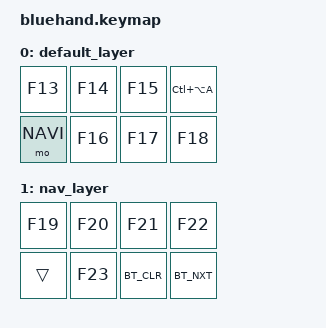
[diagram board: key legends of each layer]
/*
 * Copyright (c) 2021 DonPavlov
 *
 * SPDX-License-Identifier: MIT
 */

#include <behaviors.dtsi>
#include <dt-bindings/zmk/keys.h>
#include <dt-bindings/zmk/bt.h>

/ {
    keymap {
        compatible = "zmk,keymap";

        default_layer {
// -------------------
// |  F13  |  F14  |  F15  |  LC(LA(A))  |
// |  MO(1)  |  F16  |  F17  |  F18  |
// ----------------------
            bindings = <
    &kp F13   &kp F14  &kp F15  &kp LC(LA(A))
    &mo NAVI  &kp F16  &kp F17  &kp F18
            >;
        };

        nav_layer {
// -----------------------
// | F19 |  F20  |  F21  |  F22 |
// | _     |  F23 |  BT_CLR  |  BT_NXT |
// -----------------------
            bindings = <
    &kp F19  &kp F20  &kp F21  &kp F22
    &trans   &kp F23  &kp BT_CLR  &kp BT_NXT
            >;
        };
    };
};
